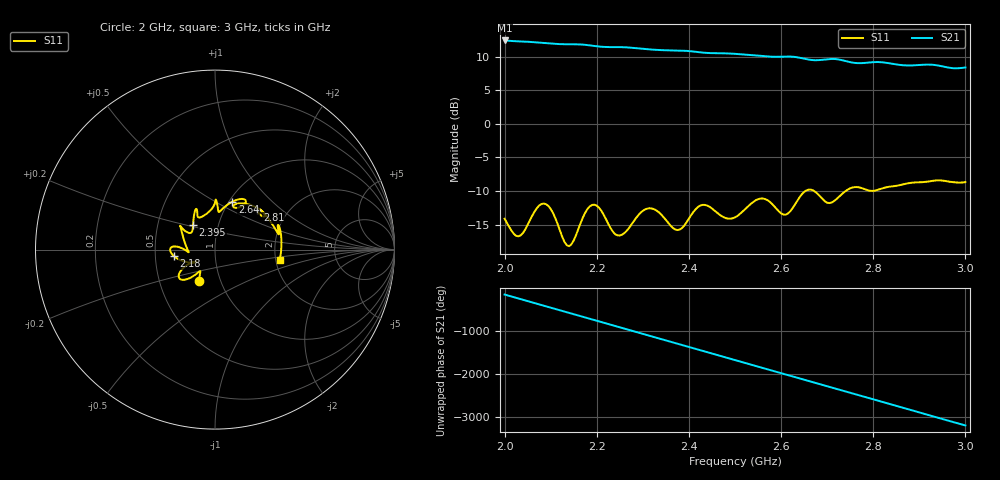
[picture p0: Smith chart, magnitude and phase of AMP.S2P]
!Agilent Technologies,E5071C,MY46107443,A.09.30
!Date: Wed Jun 12 17:45:15 2013
!Data & Calibration Information:
!Freq	S11:SOLT1(ON)	S21:NONE(--)	S12:NONE(--)	S22:NONE(--)
# Hz S dB R 50
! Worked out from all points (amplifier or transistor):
!   201 points, 2 GHz to 3 GHz, reference 50 ohm
!   highest |S21| = 12.4 dB at 2 GHz (marker M1)
!   |S21| within 3 dB of that: start of sweep to 2.736 GHz
!   S11 on the Smith chart (normalised r, x): 2 GHz: 0.79, -0.29; 2.18 GHz: 0.62, -0.05; 2.395 GHz: 0.76, +0.22; 2.64 GHz: 1.04, +0.60; 2.81 GHz: 1.41, +0.70; 3 GHz: 2.12, -0.28
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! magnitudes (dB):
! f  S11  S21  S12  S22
! 2 GHz  -14.1  12.4  -  -
! 2.03 GHz  -16.7  12.3  -  -
! 2.09 GHz  -12.0  12.0  -  -
! 2.14 GHz  -18.2  11.8  -  -
! 2.17 GHz  -13.9  11.8  -  -
! 2.18 GHz  -12.6  11.7  -  -
! 2.2 GHz  -12.2  11.6  -  -
! 2.25 GHz  -16.6  11.4  -  -
! 2.305 GHz  -12.7  11.1  -  -
! 2.335 GHz  -13.2  11.0  -  -
! 2.37 GHz  -15.7  10.9  -  -
! 2.395 GHz  -14.6  10.9  -  -
! 2.43 GHz  -12.1  10.6  -  -
! 2.5 GHz  -13.9  10.4  -  -
! 2.56 GHz  -11.1  10.1  -  -
! 2.61 GHz  -13.5  10.0  -  -
! 2.64 GHz  -10.9  9.9  -  -
! 2.67 GHz  -9.9  9.5  -  -
! 2.705 GHz  -11.8  9.7  -  -
! 2.81 GHz  -9.8  9.2  -  -
! 2.835 GHz  -9.3  9.0  -  -
! 3 GHz  -8.7  8.4  -  -
